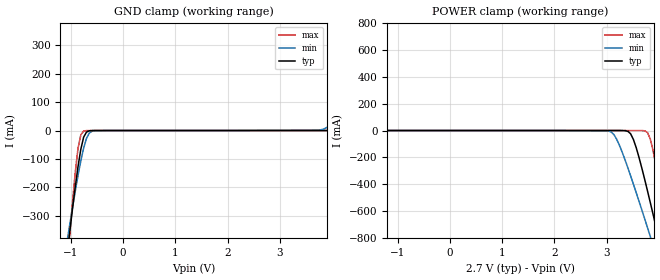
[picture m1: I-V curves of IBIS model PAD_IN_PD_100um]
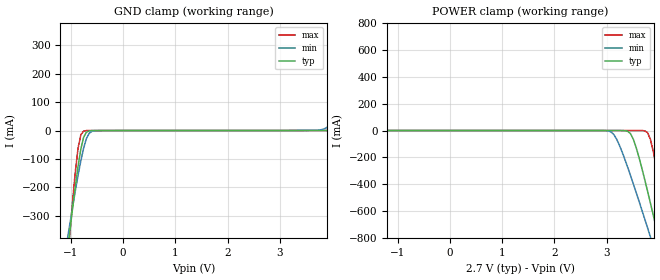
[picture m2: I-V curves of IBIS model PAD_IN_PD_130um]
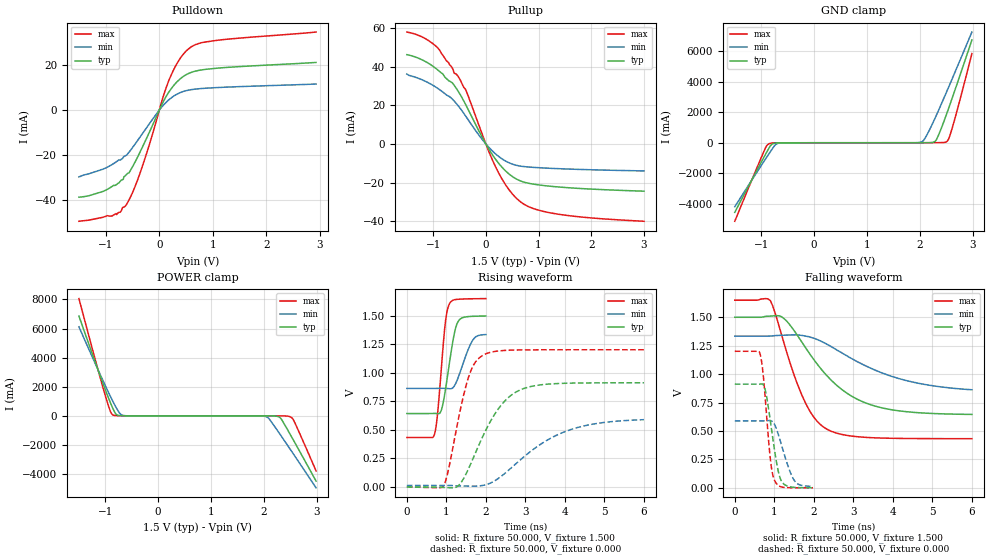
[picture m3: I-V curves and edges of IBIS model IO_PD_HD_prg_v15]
[IBIS Ver]   4.0
[File Name]   ar8031_ibis.ibs
[File Rev]   1.01
[Date]   2010-4-15
[Source]   From silicon level SPICE model at Atheros Corporation.
[Notes]   The following information corresponds to the F1 chip.
|   REV  Date & Revision history:
|   1.0  04/15/2010  Draft initial, Simple model.Hdeng@Atheros.com Harden
[Disclaimer]   This information is for modeling purposes only and is not
   guaranteed.
[Copyright]   Copyright , Atheros Corporation, All Rights Reserved.
[Component]   AR8031
[Manufacturer]  Atheros Corporation EBU
[Package]
|   typ   min   max
R_pkg   0.09   0.04   0.14
L_pkg   4.50nH   2.43nH   7.87nH
C_pkg   0.85pF   0.47pF   1.44pF
[Pin]   signal_name   model_name   R_pin   L_pin   C_pin
1   MDC   NoModel
2   RSTn   PAD_IN_PD_100um
3   LX   NoModel
4   VDD33   POWER
5   INT   NoModel
6   XTLO   NoModel
7   XTLI   NoModel
8   AVDDL   POWER
9   RBIAS   NoModel
10   VDDH_REG   POWER
11   TRXP0   NoModel
12   TRXN0   NoModel
13   AVDDL   POWER
14   TRXP1   NoModel
15   TRXN1   NoModel
16   AVDD33   POWER
17   TRXP2   NoModel
18   TRXN2   NoModel
19   AVDDL   POWER
20   TRXP3   NoModel
21   TRXN3   NoModel
22   PPS   PAD_IO_PD_HD_v15_reg
23   LED_ACT   NoModel
24   LED_LINK1000   NoModel
25   CLK_25M   PAD_IO_PD_HD_v15_reg
26   LED_LINK10_100   NoModel
27   RXD3   PAD_IO_PD_HD_v15_reg
28   RXD2   PAD_IO_PD_HD_v15_reg
29   VDDIO_REG   POWER
30   RXD1   PAD_IO_PD_HD_v15_reg
31   RXD0   PAD_IO_PD_HD_v15_reg
32   RX_DV   PAD_IO_PD_HD_v15_reg
33   RX_CLK   PAD_IO_PD_HD_v15_reg
34   TX_EN   PAD_IN_PD_130um
35   GTX_CLK   PAD_IO_PD_HD_v15_reg
36   TXD0   PAD_IN_PD_100um
37   TXD1   PAD_IN_PD_100um
38   TXD2   PAD_IN_PD_100um
39   TXD3   PAD_IN_PD_100um
40   WOL_INT   NoModel
41   SD   NoModel
42   SON   NoModel
43   SOP   NoModel
44   AVDDL   POWER
45   SIN   NoModel
46   SIP   NoModel
47   DVDDL   POWER
48   MDIO   NoModel
[Model selector] PAD_IO_PD_HD_v15_reg
| PAD_IO_PD_HD_prg Buffers
IO_PD_HD_prg_v15   vdd_2p5=1.5v or 1.8v
IO_PD_HD_prg_v27   vdd_2p5=2.7v
|   Model NoModel
| Dummy for pads with No model
[Model]   NoModel
Model_type   Terminator
C_comp   1pF NA NA
[Voltage Range] 2.7 2.57 2.84
[Ramp]
dV/dt_r   1/1n NA NA
dV/dt_f   1/1n NA NA
| End [Model] No_Model
| Models and submodels in the file (5): NoModel (Terminator), PAD_IN_PD_100um (Input), PAD_IN_PD_130um (Input), IO_PD_HD_prg_v15 (I/O), IO_PD_HD_prg_v27 (I/O)
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[Model]   PAD_IN_PD_100um
Model_type   Input
Vinl = 700.000mV
Vinh = 1.700V
|   typ   min   max
C_comp   2.610pF   2.580pF   2.640pF
[Voltage Range]   2.700V   2.570V   2.840V
[Temperature Range]   60.0   120.0   0.0
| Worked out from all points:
|   GND clamp passes 1 mA (typ) near -0.64 V on its own axis
|   POWER clamp passes 1 mA (typ) near -1.42 V on its own axis
[GND Clamp]
-2.7V     -3.257A    -2.427A    -4.648A
-1.08V    -449.5mA   -399.1mA   -502.9mA
-1.026V   -363.6mA   -336.4mA   -378.3mA
-864mV    -127.7mA   -159.3mA   -63.4mA
-756mV    -23.4mA    -61.9mA    -2.05mA
-540mV    -45.7uA    -674uA     -14.9uA
3.888V    35.7uA     9.4mA      29.4uA
4.32V     16.9mA     171mA      38.2uA
4.644V    193.7mA    366.4mA    5.41mA
4.86V     371.3mA    506.2mA    105.3mA
5.076V    563.1mA    649.8mA    340.3mA
5.4V      862.7mA    869.5mA    763.3mA
|   Voltage   I(typ)   I(min)   I(max)
[POWER Clamp]
-2.7V     862.7mA    686.1mA    1.135A
-2.43V    612.2mA    506.2mA    763.3mA
-1.998V   236mA      233.2mA    213.8mA
-1.728V   54.3mA     88.1mA     14.1mA
-1.296V   132uA      1.21mA     32.8uA
3.078V    -7.12uA    -9.38mA    -2.95uA
3.456V    -23.5mA    -336.4mA   -13.5uA
3.726V    -363.7mA   -657.8mA   -2.11mA
3.834V    -537.2mA   -790.1mA   -63.7mA
3.996V    -807mA     -990.9mA   -378.2mA
4.158V    -1.083A    -1.193A    -762.3mA
5.4V      -3.257A    -2.773A    -3.944A
[Model]   PAD_IN_PD_130um
Model_type   Input
Vinl = 700.000mV
Vinh = 1.700V
|   typ   min   max
C_comp   2.610pF   2.580pF   2.640pF
[Voltage Range]   2.700V   2.570V   2.840V
[Temperature Range]   60.0   120.0   0.0
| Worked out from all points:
|   GND clamp passes 1 mA (typ) near -0.64 V on its own axis
|   POWER clamp passes 1 mA (typ) near -1.42 V on its own axis
[GND Clamp]
-2.7V     -3.257A    -2.427A    -4.648A
-1.08V    -449.5mA   -399.1mA   -502.9mA
-1.026V   -363.6mA   -336.4mA   -378.3mA
-864mV    -127.7mA   -159.3mA   -63.4mA
-756mV    -23.4mA    -61.9mA    -2.05mA
-540mV    -45.7uA    -674uA     -14.9uA
3.888V    35.8uA     9.45mA     29.4uA
4.32V     17mA       171mA      38.2uA
4.644V    193.7mA    366.4mA    5.42mA
4.86V     371.3mA    506.2mA    105.3mA
5.076V    563.1mA    649.8mA    340.4mA
5.4V      862.7mA    869.5mA    763.3mA
|   Voltage   I(typ)   I(min)   I(max)
[POWER Clamp]
-2.7V     862.7mA    686.1mA    1.135A
-2.43V    612.2mA    506.2mA    763.3mA
-1.998V   236mA      233.2mA    213.8mA
-1.728V   54.3mA     88.1mA     14.1mA
-1.296V   132uA      1.21mA     32.8uA
3.078V    -7.12uA    -9.18mA    -2.95uA
3.456V    -23.7mA    -336.5mA   -13.5uA
3.726V    -363.7mA   -657.8mA   -2.09mA
3.834V    -537.2mA   -790.1mA   -63.6mA
3.996V    -807mA     -990.9mA   -378.3mA
4.158V    -1.083A    -1.193A    -762.3mA
5.4V      -3.257A    -2.773A    -3.944A
[Model]   IO_PD_HD_prg_v15
Model_type   I/O
Vinl = 400.000mV
Vinh = 1.200V
Vmeas = 0.800V
Cref = 0.000F
|   typ   min   max
C_comp   2.610pF   2.580pF   2.640pF
[Voltage Range]   1.500V   1.350V   1.650V
[Temperature Range]   60.0   120.0   0.0
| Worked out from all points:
|   slope of the pulldown table from 0 to 0.225 V, typ, clamps not added: 23.5 ohm
|   slope of the pullup table from 0 to 0.225 V, typ, clamps not added: 24 ohm
|   falling waveform, R_fixture 50.000, V_fixture 1.500: 20-80 % time 1.3ns typ, 1.75ns min, 765ps max; typ from 1.5 V to 0.646 V
|   rising waveform, R_fixture 50.000, V_fixture 1.500: 20-80 % time 232ps typ, 299ps min, 176ps max; typ from 0.643 V to 1.5 V
|   rising waveform, R_fixture 50.000, V_fixture 0.000: 20-80 % time 829ps typ, 1.41ns min, 454ps max; typ from 0 V to 0.912 V
|   falling waveform, R_fixture 50.000, V_fixture 0.000: 20-80 % time 238ps typ, 318ps min, 176ps max; typ from 0.912 V to 0.001 V
[Pulldown]
|  Voltage   I(typ)   I(min)   I(max)
-1.5V     -38.7mA    -29.69mA   -49.4mA
-876mV    -33.83mA   -24.1mA    -47.02mA
-732mV    -31.7mA    -22.2mA    -45.43mA
-627.7mV  -28.99mA   NA         NA
-564mV    -27.82mA   -18.67mA   -39.88mA
-348mV    -18.09mA   -11.58mA   -27.23mA
180mV     8.057mA    4.629mA    13.21mA
372mV     13.52mA    7.592mA    22.34mA
540mV     16.23mA    8.873mA    27.11mA
756mV     17.75mA    9.551mA    29.76mA
1.092V    18.69mA    10.06mA    31.09mA
2.928V    21.21mA    11.61mA    34.72mA
[GND Clamp]
|   Voltage   I(typ)   I(min)   I(max)
-1.5V     -4.565A    -4.199A    -5.149A
-924mV    -797.9mA   -1.098A    -377.1mA
-852mV    -348.8mA   -721mA     -68.7mA
-732mV    -20.3mA    -136.1mA   -6.31mA
-636mV    -2.3mA     -13mA      -3.15mA
2.004V    922uA      22.5mA     121uA
2.1V      2.44mA     292.3mA    788uA
2.292V    95.8mA     1.621A     4.62mA
2.484V    1.64A      3.134A     30.8mA
2.556V    2.34A      3.715A     316.9mA
2.7V      3.784A     4.888A     2.008A
2.988V    6.739A     7.259A     5.846A
[Pullup]
|  Voltage   I(typ)   I(min)   I(max)
-1.5V     46.24mA    36.24mA    57.94mA
-960mV    39.35mA    29.61mA    50.9mA
-636mV    31.66mA    23.22mA    NA
-528mV    27.39mA    19.88mA    35.05mA
-384mV    20.39mA    14.46mA    28.23mA
12mV      -578.2uA   -381.7uA   -854.3uA
228mV     -9.492mA   -6.127mA   -14.22mA
444mV     -15.62mA   -9.766mA   -23.86mA
660mV     -19.14mA   -11.46mA   -30.01mA
930mV     -20.88mA   -12.14mA   -33.67mA
1.38V     -22.24mA   -12.76mA   -36.35mA
3V        -24.41mA   -13.93mA   -39.98mA
[POWER Clamp]
|   Voltage   I(typ)   I(min)   I(max)
-1.5V     6.863A     6.12A      8.06A
-996mV    1.755A     2.038A     1.33A
-900mV    866mA      1.304A     260.8mA
-852mV    465.1mA    955.5mA    52.1mA
-780mV    67.3mA     473.8mA    10.9mA
-636mV    3.43mA     14.2mA     4.47mA
2.004V    -297uA     -20.4mA    -48.7uA
2.1V      -1.29mA    -204.4mA   -348uA
2.268V    -49.7mA    -1.066A    -2.74mA
2.34V     -275.7mA   -1.447A    -4.57mA
2.556V    -1.646A    -2.606A    -249mA
2.988V    -4.485A    -4.949A    -3.786A
[Ramp]
R_load = 50.00Ohm
|   typ   min   max
dV/dt_r   944.832mV/75.563ps  701.071mV/113.711ps   1.175V/51.451ps
dV/dt_f   968.544mV/89.712ps  673.569mV/131.026ps   1.238V/61.785ps
[Falling Waveform]
R_fixture = 50.000
V_fixture = 1.500
V_fixture_min = 1.350
V_fixture_max = 1.650
|  time   V(typ)   V(min)   V(max)
0s        1.5V       1.334V     1.65V
900ps     1.51V      1.335V     1.647V
1.26ns    1.484V     1.342V     1.256V
1.74ns    1.259V     1.338V     782.6mV
2.04ns    1.109V     1.311V     603.7mV
2.34ns    983.2mV    1.261V     514.8mV
2.94ns    810.1mV    1.14V      456.3mV
3.6ns     714.5mV    1.028V     439.5mV
4.68ns    660.2mV    917.5mV    433.6mV
6ns       645.9mV    862.6mV    432.8mV
[Rising Waveform]
R_fixture = 50.000
V_fixture = 1.500
V_fixture_min = 1.350
V_fixture_max = 1.650
|  time   V(typ)   V(min)   V(max)
0s        642.7mV    862.6mV    432.7mV
700ps     643.8mV    862.7mV    461.7mV
780ps     641.5mV    863.1mV    649.5mV
880ps     680.2mV    863.7mV    1.069V
980ps     858.6mV    863.4mV    1.456V
1.08ns    1.091V     860mV      1.605V
1.22ns    1.372V     894.8mV    1.64V
1.32ns    1.459V     977.8mV    1.644V
1.66ns    1.494V     1.281V     1.647V
2ns       1.497V     1.334V     1.649V
[Rising Waveform]
R_fixture = 50.000
V_fixture = 0.000
V_fixture_min = 0.000
V_fixture_max = 0.000
|  time   V(typ)   V(min)   V(max)
0s        0V         12.77mV    0V
960ps     -4.92mV    12.93mV    28.7mV
1.26ns    -494uV     9.841mV    516.8mV
1.56ns    159mV      7.437mV    960.5mV
1.74ns    301.5mV    6.731mV    1.096V
1.92ns    441.3mV    13.23mV    1.152V
2.46ns    745.8mV    113.2mV    1.195V
3ns       866.5mV    274.6mV    1.2V
4.2ns     909.3mV    508.2mV    1.201V
6ns       911.9mV    589mV      1.201V
[Falling Waveform]
R_fixture = 50.000
V_fixture = 0.000
V_fixture_min = 0.000
V_fixture_max = 0.000
|  time   V(typ)   V(min)   V(max)
0s        912mV      589mV      1.201V
640ps     912.3mV    589mV      1.179V
700ps     913mV      588.9mV    1.057V
760ps     875.2mV    589.1mV    836.9mV
860ps     684.7mV    592.1mV    400.8mV
920ps     539.1mV    589.7mV    197.1mV
1.04ns    258.3mV    532.1mV    45.1mV
1.2ns     49.8mV     356.2mV    6.72mV
1.5ns     5.04mV     69.14mV    1.33mV
1.98ns    1.16mV     12.77mV    536uV
